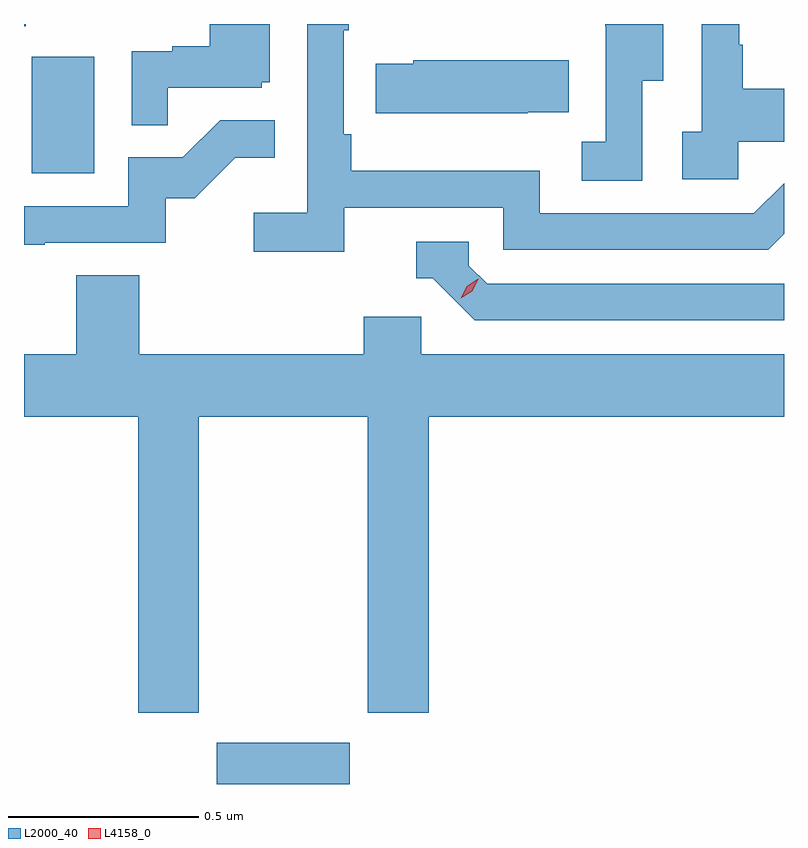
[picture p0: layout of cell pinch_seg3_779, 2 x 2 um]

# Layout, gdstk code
import gdstk
lib = gdstk.Library(unit=1e-6, precision=1e-09)
def R(c, l, rs):  # rectangles x0, y0, x1, y1
    for r in rs: c.add(gdstk.rectangle(r[:2], r[2:], *l))
def P(c, l, *ps):  # polygons
    for p in ps: c.add(gdstk.Polygon(p, *l))
L2000_40 = (2000, 40)
L4158_0 = (4158, 0)

pinch_seg3_779 = lib.new_cell('pinch_seg3_779')
R(pinch_seg3_779, L2000_40, [(822.704,745.237,823.054,745.345), (822.218,746.844,822.382,747.151), (822.197,747.231,822.202,747.237)])
P(pinch_seg3_779, L2000_40, [(823.04,746.754),(823.458,746.754),(823.458,746.643),(824.155,746.643),(824.197,746.685),(824.197,746.818),(824.118,746.739),(823.554,746.739),(823.554,746.851),(823.058,746.851),(823.058,746.947),(823.038,746.947),(823.038,747.22),(823.051,747.22),(823.051,747.237),(822.942,747.237),(822.942,746.74),(822.801,746.74),(822.801,746.638),(823.04,746.638)],
  [(823.824,747.088),(823.879,747.088),(823.879,747.237),(823.727,747.237),(823.727,747.231),(823.728,747.231),(823.728,746.927),(823.665,746.927),(823.665,746.824),(823.824,746.824)],
  [(824.076,746.927),(824.197,746.927),(824.197,747.067),(824.089,747.067),(824.089,747.182),(824.079,747.182),(824.079,747.237),(823.98,747.237),(823.98,746.954),(823.929,746.954),(823.929,746.829),(824.076,746.829)],
  [(822.575,747.069),(822.822,747.069),(822.822,747.084),(822.844,747.084),(822.844,747.237),(822.686,747.237),(822.686,747.178),(822.587,747.178),(822.587,747.165),(822.48,747.165),(822.48,746.971),(822.575,746.971)],
  [(823.523,747.005),(823.631,747.005),(823.631,747.142),(823.221,747.142),(823.221,747.132),(823.123,747.132),(823.123,747.002),(823.523,747.002)],
  [(822.251,746.661),(822.57,746.661),(822.57,746.778),(822.646,746.778),(822.753,746.885),(822.857,746.885),(822.857,746.984),(822.713,746.984),(822.615,746.886),(822.471,746.886),(822.471,746.757),(822.197,746.757),(822.197,746.656),(822.251,746.656)],
  [(824.197,746.553),(823.416,746.553),(823.368,746.601),(823.368,746.664),(823.229,746.664),(823.229,746.568),(823.272,746.568),(823.383,746.457),(824.197,746.457)],
  [(822.657,746.204),(823.102,746.204),(823.102,745.425),(823.262,745.425),(823.262,746.204),(824.197,746.204),(824.197,746.368),(823.242,746.368),(823.242,746.466),(823.091,746.466),(823.091,746.368),(822.5,746.368),(822.5,746.576),(822.335,746.576),(822.335,746.368),(822.197,746.368),(822.197,746.204),(822.497,746.204),(822.497,745.425),(822.657,745.425)])
P(pinch_seg3_779, L4158_0, [(823.346,746.515),(823.346,746.515),(823.362,746.547),(823.392,746.566),(823.392,746.566),(823.392,746.566),(823.376,746.534),(823.346,746.515)])

lib.write_gds('pinch_seg3_779.gds')
